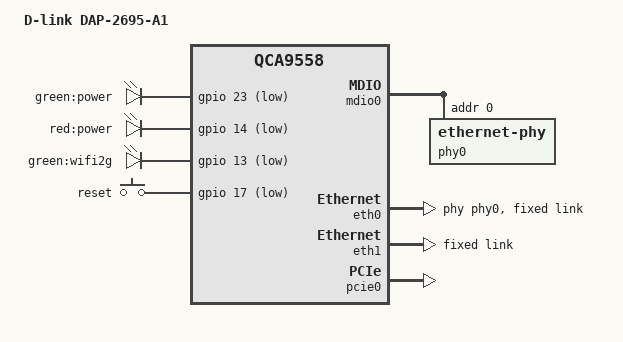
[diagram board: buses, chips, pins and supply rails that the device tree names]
// SPDX-License-Identifier: GPL-2.0-or-later OR MIT

#include "qca955x_dlink_dap-2xxx.dtsi"

/ {
	compatible = "dlink,dap-2695-a1", "qca,qca9558";
	model = "D-link DAP-2695-A1";

	aliases {
		led-boot = &led_power_red;
		led-failsafe = &led_power_red;
		led-running = &led_power_green;
		led-upgrade = &led_power_red;
	};

	leds {
		compatible = "gpio-leds";

		led_power_green: power_green {
			label = "green:power";
			gpios = <&gpio 23 GPIO_ACTIVE_LOW>;
			default-state = "on";
		};

		led_power_red: power_red {
			label = "red:power";
			gpios = <&gpio 14 GPIO_ACTIVE_LOW>;
		};

		wifi2g {
			label = "green:wifi2g";
			gpios = <&gpio 13 GPIO_ACTIVE_LOW>;
			linux,default-trigger = "phy1tpt";
		};
	};

	keys {
		compatible = "gpio-keys";

		reset {
			label = "reset";
			linux,code = <KEY_RESTART>;
			gpios = <&gpio 17 GPIO_ACTIVE_LOW>;
		};
	};
};

&partitions {
	partition@70000 {
		label = "firmware";
		reg = <0x070000 0xf00000>;
		compatible = "wrg";
	};

	partition@f70000 {
		label = "captival";
		reg = <0xf70000 0x070000>;
		read-only;
	};

	partition@fe0000 {
		label = "certificate";
		reg = <0xfe0000 0x010000>;
		read-only;
	};

	art: partition@ff0000 {
		label = "art";
		reg = <0xff0000 0x010000>;
		read-only;
	};
};

&mdio0 {
	status = "okay";

	phy0: ethernet-phy@0 {
		reg = <0>;

		qca,ar8327-initvals = <
			0x04 0x07600000 /* PORT0_PAD_CTRL */
			0x0c 0x00080080 /* PORT6_PAD_CTRL */
			0x7c 0x0000007e /* PORT0_STATUS */
			0x94 0x0000007e /* PORT6_STATUS */
		>;
	};
};

&eth0 {
	status = "okay";

	phy-handle = <&phy0>;
	pll-data = <0x56000000 0x00000101 0x00001616>;

	fixed-link {
		speed = <1000>;
		full-duplex;
	};
};

&eth1 {
	status = "okay";

	phy-mask = <0>;
	pll-data = <0x03000101 0x00000101 0x00001616>;

	fixed-link {
		speed = <1000>;
		full-duplex;
	};
};

&pcie0 {
	status = "okay";
};
